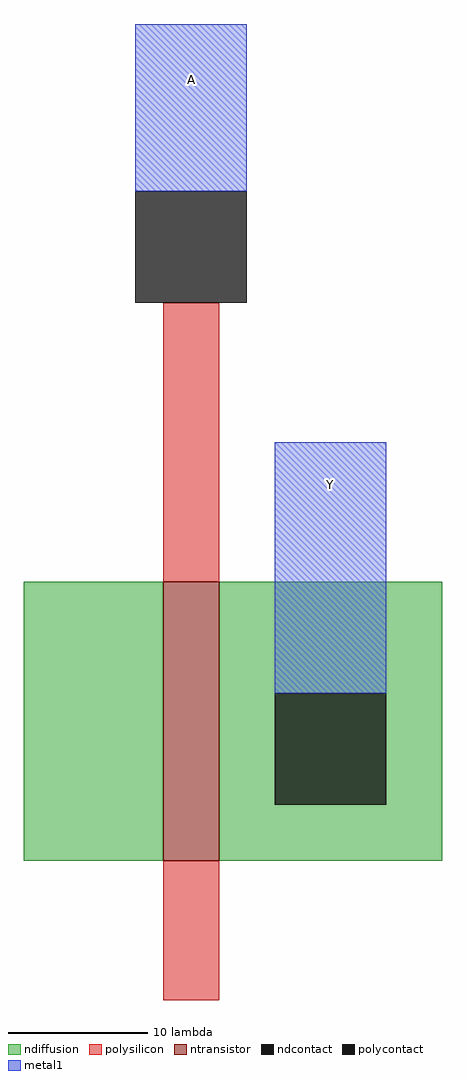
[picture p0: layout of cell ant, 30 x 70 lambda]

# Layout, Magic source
magic
tech lefdef
<< ndiffusion >>
rect 0 20 10 40
rect 14 20 30 40
<< ntransistor >>
rect 10 20 14 40
<< polysilicon >>
rect 10 40 14 60
rect 10 10 14 20
<< polycontact >>
rect 8 60 16 68
<< ndcontact >>
rect 18 24 26 32
<< metal1 >>
rect 8 68 16 80
rect 18 32 26 50
<< labels >>
rlabel metal1 8 72 16 80 0 A
port 1 nsew signal input
rlabel metal1 18 44 26 50 0 Y
port 2 nsew signal output
<< end >>
